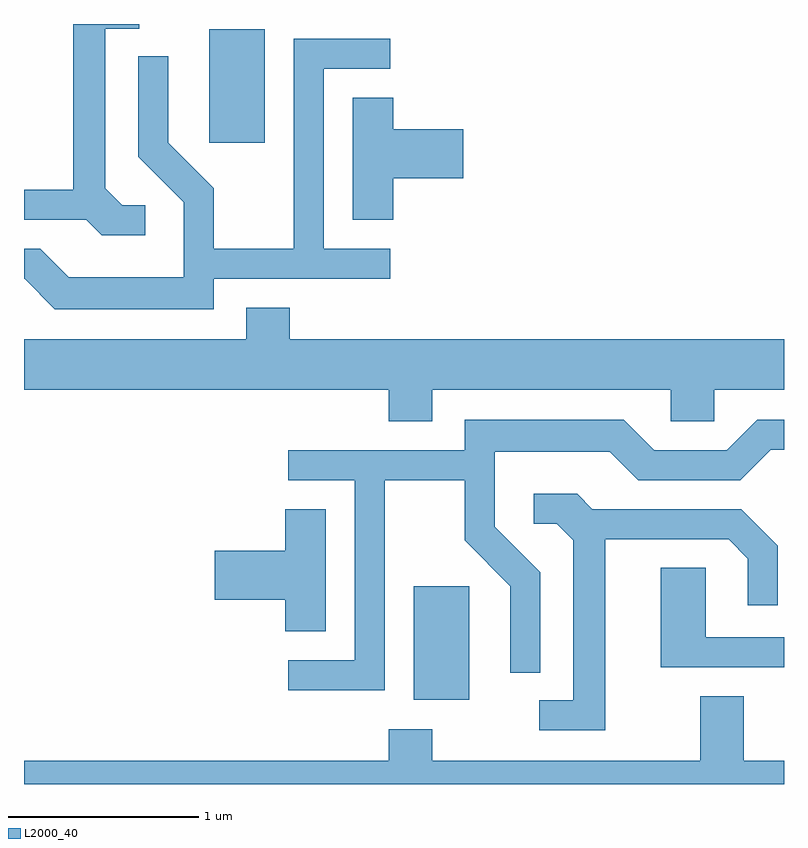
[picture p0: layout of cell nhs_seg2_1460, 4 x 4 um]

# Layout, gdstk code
import gdstk
lib = gdstk.Library(unit=1e-6, precision=1e-09)
def R(c, l, rs):  # rectangles x0, y0, x1, y1
    for r in rs: c.add(gdstk.rectangle(r[:2], r[2:], *l))
def P(c, l, *ps):  # polygons
    for p in ps: c.add(gdstk.Polygon(p, *l))
L2000_40 = (2000, 40)

nhs_seg2_1460 = lib.new_cell('nhs_seg2_1460')
R(nhs_seg2_1460, L2000_40, [(229.661,1042.246,229.954,1042.844), (228.586,1045.176,228.879,1045.774)])
P(nhs_seg2_1460, L2000_40, [(228.248,1044.849),(228.127,1044.849),(228.039,1044.937),(228.039,1045.776),(228.218,1045.776),(228.218,1045.802),(227.871,1045.802),(227.871,1044.929),(227.611,1044.929),(227.611,1044.771),(227.939,1044.771),(228.019,1044.691),(228.248,1044.691)],
  [(228.609,1044.461),(229.538,1044.461),(229.538,1044.619),(229.189,1044.619),(229.189,1045.566),(229.538,1045.566),(229.538,1045.724),(229.031,1045.724),(229.031,1044.619),(228.609,1044.619),(228.609,1044.937),(228.369,1045.177),(228.369,1045.632),(228.211,1045.632),(228.211,1045.103),(228.451,1044.863),(228.451,1044.469),(227.847,1044.469),(227.697,1044.619),(227.611,1044.619),(227.611,1044.461),(227.614,1044.461),(227.774,1044.301),(228.609,1044.301)],
  [(229.554,1044.991),(229.924,1044.991),(229.924,1045.249),(229.554,1045.249),(229.554,1045.414),(229.341,1045.414),(229.341,1044.771),(229.554,1044.771)],
  [(229.759,1043.876),(231.016,1043.876),(231.016,1043.711),(231.244,1043.711),(231.244,1043.876),(231.611,1043.876),(231.611,1044.144),(229.009,1044.144),(229.009,1044.309),(228.781,1044.309),(228.781,1044.144),(227.611,1044.144),(227.611,1043.876),(229.531,1043.876),(229.531,1043.711),(229.759,1043.711)],
  [(229.509,1043.401),(229.931,1043.401),(229.931,1043.084),(230.171,1042.844),(230.171,1042.388),(230.329,1042.388),(230.329,1042.917),(230.089,1043.157),(230.089,1043.551),(230.694,1043.551),(230.844,1043.401),(231.382,1043.401),(231.542,1043.561),(231.611,1043.561),(231.611,1043.719),(231.469,1043.719),(231.309,1043.559),(230.927,1043.559),(230.767,1043.719),(229.931,1043.719),(229.931,1043.559),(229.003,1043.559),(229.003,1043.401),(229.351,1043.401),(229.351,1042.454),(229.003,1042.454),(229.003,1042.296),(229.509,1042.296)],
  [(230.669,1043.091),(231.319,1043.091),(231.421,1042.988),(231.421,1042.743),(231.579,1042.743),(231.579,1043.056),(231.387,1043.249),(230.602,1043.249),(230.522,1043.329),(230.293,1043.329),(230.293,1043.171),(230.414,1043.171),(230.501,1043.084),(230.501,1042.244),(230.323,1042.244),(230.323,1042.086),(230.669,1042.086)],
  [(229.199,1043.249),(228.986,1043.249),(228.986,1043.029),(228.616,1043.029),(228.616,1042.771),(228.986,1042.771),(228.986,1042.606),(229.199,1042.606)],
  [(231.611,1042.574),(231.199,1042.574),(231.199,1042.939),(230.961,1042.939),(230.961,1042.416),(231.611,1042.416)],
  [(231.611,1041.924),(231.399,1041.924),(231.399,1042.264),(231.171,1042.264),(231.171,1041.924),(229.759,1041.924),(229.759,1042.089),(229.531,1042.089),(229.531,1041.924),(227.611,1041.924),(227.611,1041.802),(231.611,1041.802)])

lib.write_gds('nhs_seg2_1460.gds')
